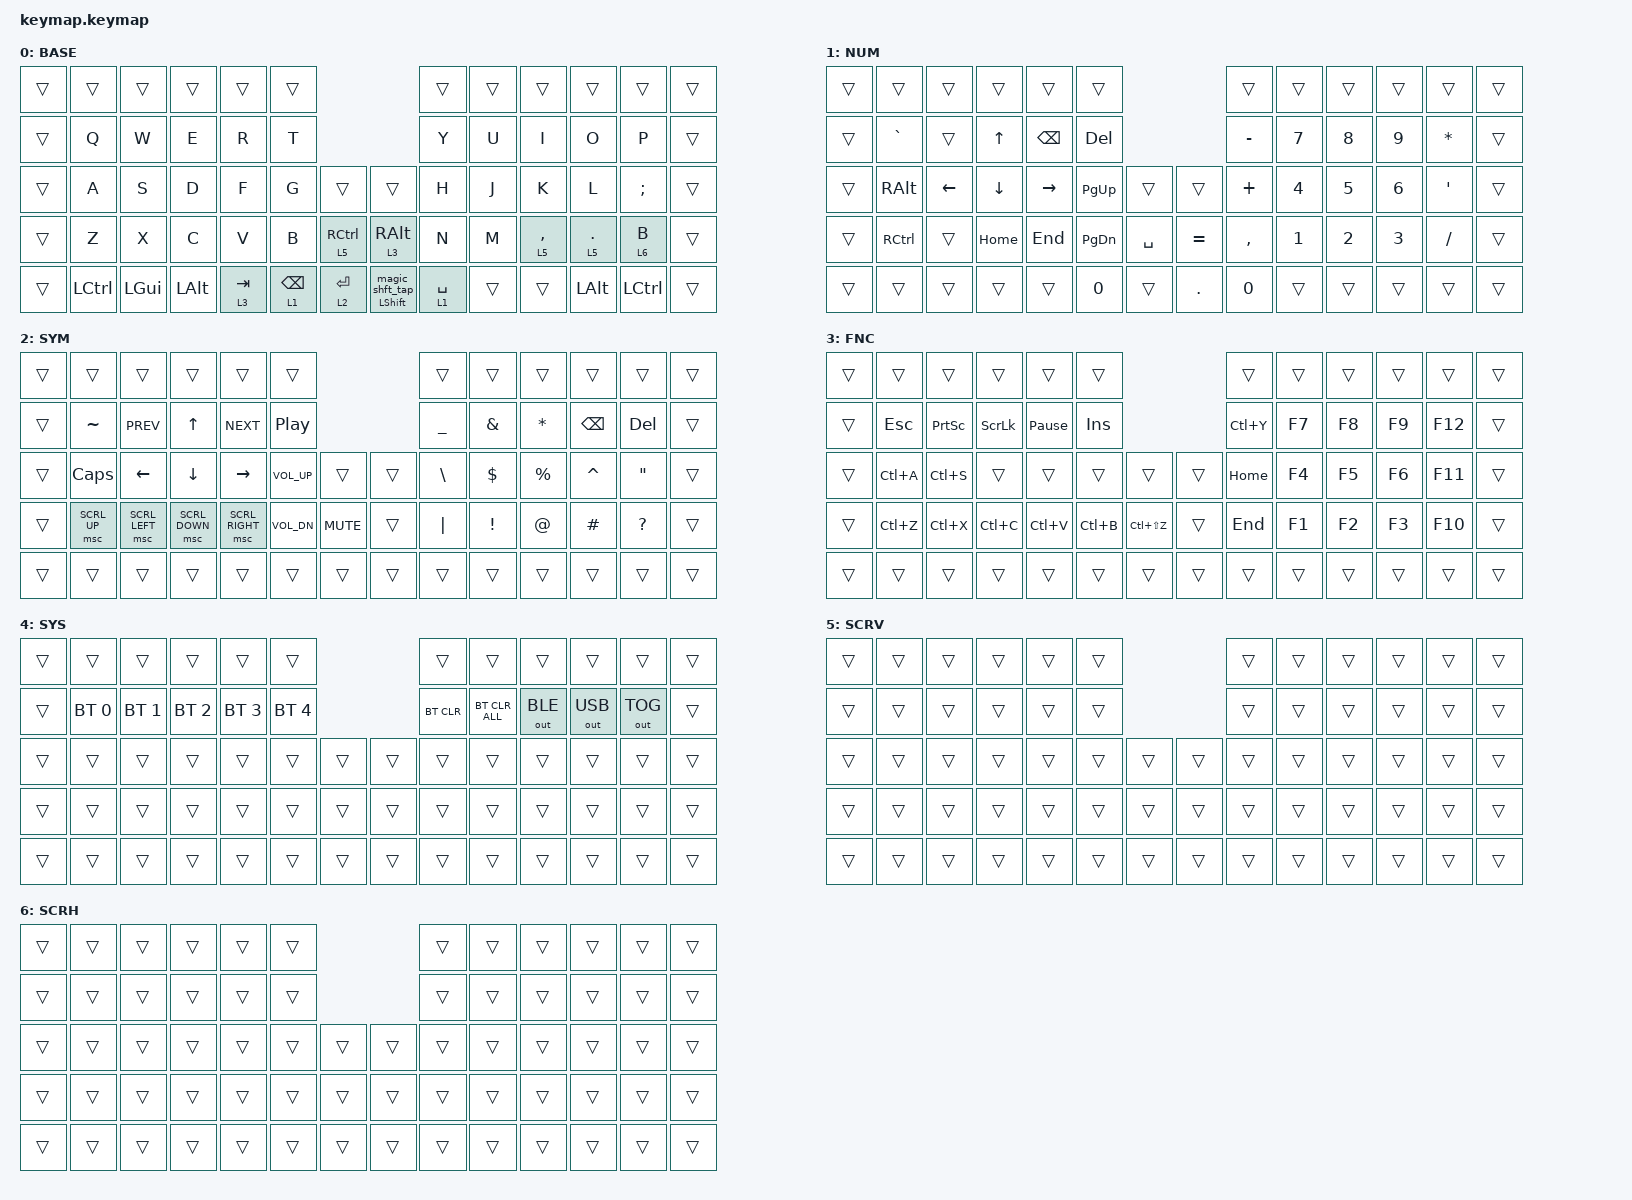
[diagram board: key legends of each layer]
#include <behaviors.dtsi>
#include <dt-bindings/zmk/bt.h>
#include <dt-bindings/zmk/keys.h>
#include <dt-bindings/zmk/outputs.h>
#include <dt-bindings/zmk/pointing.h>

/ {
    combos {
        compatible = "zmk,combos";

        combo_lpar {
            bindings = <&kp LPAR>;
            key-positions = <15 14>;
        };

        combo_rpar {
            bindings = <&kp RPAR>;
            key-positions = <20 21>;
        };

        combo_next {
            bindings = <&mkp MB5>;
            key-positions = <32 46>;
        };

        combo_prev {
            bindings = <&mkp MB4>;
            key-positions = <33 47>;
        };

        combo_lclk {
            bindings = <&mkp LCLK>;
            key-positions = <48 34>;
        };

        combo_rclk {
            bindings = <&mkp RCLK>;
            key-positions = <35 49>;
        };

        combo_mclk {
            bindings = <&mkp MCLK>;
            key-positions = <48 49>;
        };

        combo_bapc {
            bindings = <&kp BSPC>;
            key-positions = <22 36>;
        };

        combo_enter {
            bindings = <&kp ENTER>;
            key-positions = <36 50>;
        };

        combo_lang {
            bindings = <&kp RALT>;
            key-positions = <47 48>;
        };

        combo_hanja {
            bindings = <&kp RCTRL>;
            key-positions = <46 47>;
        };

        combo_esc {
            bindings = <&kp ESC>;
            key-positions = <13 14>;
        };

        combo_undo {
            bindings = <&kp LC(Z)>;
            key-positions = <39 25>;
        };

        combo_cut {
            bindings = <&kp LC(X)>;
            key-positions = <40 26>;
        };

        combo_copy {
            bindings = <&kp LC(C)>;
            key-positions = <41 27>;
        };

        combo_paste {
            bindings = <&kp LC(V)>;
            key-positions = <42 28>;
        };

        combo_lbkt {
            bindings = <&kp LBKT>;
            key-positions = <16 15>;
        };

        combo_rbkt {
            bindings = <&kp RBKT>;
            key-positions = <19 20>;
        };

        combo_sym {
            bindings = <&mo 2>;
            key-positions = <59 60>;
        };

        combo_lbrc {
            bindings = <&kp LBRC>;
            key-positions = <17 16>;
        };

        combo_rbrc {
            bindings = <&kp RBRC>;
            key-positions = <18 19>;
        };

        combo_lwin {
            bindings = <&kp LWIN>;
            key-positions = <17 29>;
        };

        combo_lctrl {
            bindings = <&kp LCTRL>;
            key-positions = <16 28>;
        };

        combo_lshft {
            bindings = <&kp LSHFT>;
            key-positions = <15 27 15>;
        };

        combo_lalt {
            bindings = <&kp LALT>;
            key-positions = <14 26>;
        };

        combo_rwin {
            bindings = <&kp RWIN>;
            key-positions = <18 32>;
        };

        combo_rctrl {
            bindings = <&kp LCTRL>;
            key-positions = <19 33>;
        };

        combo_rshft {
            bindings = <&kp RSHFT>;
            key-positions = <20 34>;
        };

        combo_ralt {
            bindings = <&kp LALT>;
            key-positions = <21 35>;
        };
    };

    behaviors {
        ltq: ltq {
            compatible = "zmk,behavior-hold-tap";
            label = "LTQ";
            bindings = <&mo>, <&kp>;

            #binding-cells = <2>;
            tapping-term-ms = <200>;
            quick-tap-ms = <175>;
            flavor = "balanced";
            require-prior-idle-ms = <100>;
        };

        hmr: homerow_right_mods {
            compatible = "zmk,behavior-hold-tap";
            label = "HOMEROW_RIGHT_MODS";
            bindings = <&kp>, <&kp>;

            #binding-cells = <2>;
            tapping-term-ms = <300>;
            quick-tap-ms = <175>;
            require-prior-idle-ms = <200>;
            flavor = "tap-preferred";
            hold-trigger-key-positions = <13 14 25 39 40 15 16 17 27 28 29 41 42 43 44 26 56 57 58 59 60>;
            hold-trigger-on-release;
        };

        hml: homerow_left_mods {
            compatible = "zmk,behavior-hold-tap";
            label = "HOMEROW_LEFT_MODS";
            bindings = <&kp>, <&kp>;

            #binding-cells = <2>;
            tapping-term-ms = <300>;
            quick-tap-ms = <175>;
            require-prior-idle-ms = <200>;
            flavor = "tap-preferred";
            hold-trigger-key-positions = <18 18 19 20 21 22 31 32 33 34 35 36 45 46 47 48 49 50 59 60 56 57 58>;
            hold-trigger-on-release;
        };

        sk_shft: sk_shft {
            compatible = "zmk,behavior-sticky-key";
            label = "SK_SHFT";
            bindings = <&kp>;
            #binding-cells = <1>;
            release-after-ms = <1000>;
            quick-release;
        };

        magic_shft_tap: magic_shft_tap {
            compatible = "zmk,behavior-mod-morph";
            label = "MAGIC_SHFT_TAP";
            bindings = <&sk_shft LSHFT>, <&caps_word>;

            #binding-cells = <0>;
            mods = <(MOD_LSFT)>;
        };

        magic_shft: magic_shft {
            compatible = "zmk,behavior-hold-tap";
            label = "MAGIC_SHFT";
            bindings = <&kp>, <&magic_shft_tap>;

            #binding-cells = <2>;
            tapping-term-ms = <200>;
            quick-tap-ms = <150>;
            flavor = "balanced";
        };
    };

    keymap {
        compatible = "zmk,keymap";

        Default_layer {
            bindings = <
&trans  &trans     &trans    &trans    &trans      &trans                                          &trans        &trans  &trans        &trans      &trans     &trans
&trans  &kp Q      &kp W     &kp E     &kp R       &kp T                                           &kp Y         &kp U   &kp I         &kp O       &kp P      &trans
&trans  &kp A      &kp S     &kp D     &kp F       &kp G        &trans        &trans               &kp H         &kp J   &kp K         &kp L       &kp SEMI   &trans
&trans  &kp Z      &kp X     &kp C     &kp V       &kp B        &ltq 5 RCTRL  &ltq 3 RALT          &kp N         &kp M   &ltq 5 COMMA  &ltq 5 DOT  &ltq 6 B   &trans
&trans  &kp LCTRL  &kp LGUI  &kp LALT  &ltq 3 TAB  &ltq 1 BSPC  &ltq 2 ENTER  &magic_shft LSHFT 0  &ltq 1 SPACE  &trans  &trans        &kp LALT    &kp LCTRL  &trans
            >;

            label = "BASE";
        };

        Num_layer {
            bindings = <
&trans  &trans     &trans    &trans    &trans     &trans                           &trans     &trans  &trans  &trans  &trans     &trans
&trans  &kp GRAVE  &trans    &kp UP    &kp BSPC   &kp DEL                          &kp MINUS  &kp N7  &kp N8  &kp N9  &kp ASTRK  &trans
&trans  &kp RALT   &kp LEFT  &kp DOWN  &kp RIGHT  &kp PG_UP  &trans     &trans     &kp PLUS   &kp N4  &kp N5  &kp N6  &kp SQT    &trans
&trans  &kp RCTRL  &trans    &kp HOME  &kp END    &kp PG_DN  &kp SPACE  &kp EQUAL  &kp COMMA  &kp N1  &kp N2  &kp N3  &kp SLASH  &trans
&trans  &trans     &trans    &trans    &trans     &kp N0     &trans     &kp DOT    &kp N0     &trans  &trans  &trans  &trans     &trans
            >;

            label = "NUM";
        };

        Sym_layer {
            bindings = <
&trans  &trans        &trans          &trans          &trans           &trans                                &trans     &trans    &trans     &trans     &trans     &trans
&trans  &kp TILDE     &kp C_PREV      &kp UP          &kp C_NEXT       &kp C_PLAY_PAUSE                      &kp UNDER  &kp AMPS  &kp ASTRK  &kp BSPC   &kp DEL    &trans
&trans  &kp CAPS      &kp LEFT        &kp DOWN        &kp RIGHT        &kp C_VOL_UP      &trans      &trans  &kp BSLH   &kp DLLR  &kp PRCNT  &kp CARET  &kp DQT    &trans
&trans  &msc SCRL_UP  &msc SCRL_LEFT  &msc SCRL_DOWN  &msc SCRL_RIGHT  &kp C_VOL_DN      &kp K_MUTE  &trans  &kp PIPE   &kp EXCL  &kp AT     &kp HASH   &kp QMARK  &trans
&trans  &trans        &trans          &trans          &trans           &trans            &trans      &trans  &trans     &trans    &trans     &trans     &trans     &trans
            >;

            label = "SYM";
        };

        Fnc_layer {
            bindings = <
&trans  &trans     &trans           &trans          &trans           &trans                            &trans     &trans  &trans  &trans  &trans   &trans
&trans  &kp ESC    &kp PRINTSCREEN  &kp SCROLLLOCK  &kp PAUSE_BREAK  &kp INS                           &kp LC(Y)  &kp F7  &kp F8  &kp F9  &kp F12  &trans
&trans  &kp LC(A)  &kp LC(S)        &trans          &trans           &trans     &trans         &trans  &kp HOME   &kp F4  &kp F5  &kp F6  &kp F11  &trans
&trans  &kp LC(Z)  &kp LC(X)        &kp LC(C)       &kp LC(V)        &kp LC(B)  &kp LC(LS(Z))  &trans  &kp END    &kp F1  &kp F2  &kp F3  &kp F10  &trans
&trans  &trans     &trans           &trans          &trans           &trans     &trans         &trans  &trans     &trans  &trans  &trans  &trans   &trans
            >;

            label = "FNC";
        };

        Sys_layer {
            bindings = <
&trans  &trans        &trans        &trans        &trans        &trans                        &trans      &trans          &trans        &trans        &trans        &trans
&trans  &bt BT_SEL 0  &bt BT_SEL 1  &bt BT_SEL 2  &bt BT_SEL 3  &bt BT_SEL 4                  &bt BT_CLR  &bt BT_CLR_ALL  &out OUT_BLE  &out OUT_USB  &out OUT_TOG  &trans
&trans  &trans        &trans        &trans        &trans        &trans        &trans  &trans  &trans      &trans          &trans        &trans        &trans        &trans
&trans  &trans        &trans        &trans        &trans        &trans        &trans  &trans  &trans      &trans          &trans        &trans        &trans        &trans
&trans  &trans        &trans        &trans        &trans        &trans        &trans  &trans  &trans      &trans          &trans        &trans        &trans        &trans
            >;

            label = "SYS";
        };

        Scrv_layer {
            bindings = <
&trans  &trans  &trans  &trans  &trans  &trans                  &trans  &trans  &trans  &trans  &trans  &trans
&trans  &trans  &trans  &trans  &trans  &trans                  &trans  &trans  &trans  &trans  &trans  &trans
&trans  &trans  &trans  &trans  &trans  &trans  &trans  &trans  &trans  &trans  &trans  &trans  &trans  &trans
&trans  &trans  &trans  &trans  &trans  &trans  &trans  &trans  &trans  &trans  &trans  &trans  &trans  &trans
&trans  &trans  &trans  &trans  &trans  &trans  &trans  &trans  &trans  &trans  &trans  &trans  &trans  &trans
            >;

            label = "SCRV";
        };

        Scrh_layer {
            bindings = <
&trans  &trans  &trans  &trans  &trans  &trans                  &trans  &trans  &trans  &trans  &trans  &trans
&trans  &trans  &trans  &trans  &trans  &trans                  &trans  &trans  &trans  &trans  &trans  &trans
&trans  &trans  &trans  &trans  &trans  &trans  &trans  &trans  &trans  &trans  &trans  &trans  &trans  &trans
&trans  &trans  &trans  &trans  &trans  &trans  &trans  &trans  &trans  &trans  &trans  &trans  &trans  &trans
&trans  &trans  &trans  &trans  &trans  &trans  &trans  &trans  &trans  &trans  &trans  &trans  &trans  &trans
            >;

            label = "SCRH";
        };
    };

    conditional_layers {
        compatible = "zmk,conditional-layers";

        Sys_layer {
            if-layers = <1 3>;
            then-layer = <4>;
        };
    };
};
